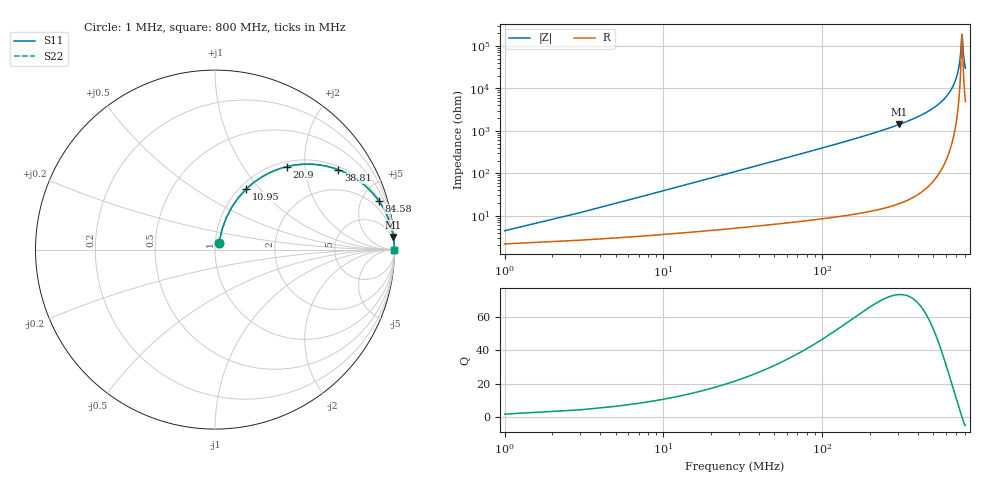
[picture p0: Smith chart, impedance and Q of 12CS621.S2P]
! Coilcraft 1206CS-621 Chip Inductor
! 29 July 2002
# MHZ S MA R 50
!Freq  MagS11  AngS11  MagS21  AngS21  MagS12  AngS12  MagS22  AngS22
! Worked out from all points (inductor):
!   403 points, 1 MHz to 800 MHz, reference 50 ohm
!   read as one part in series: L = 615 nH near 4.98 MHz
!   highest Q = 73.3 at 307.5 MHz (marker M1), where L = 735 nH
!   self-resonance near 761.2 MHz
!   S11 on the Smith chart (normalised r, x): 1 MHz: 1.04, +0.08; 10.95 MHz: 1.07, +0.85; 20.9 MHz: 1.09, +1.62; 38.81 MHz: 1.11, +3.01; 84.58 MHz: 1.16, +6.62; 800 MHz: open
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1  0.04335 58.5  0.9781 -2.2  0.9781 -2.2  0.04335 58.5
6.97  0.2542 68.5  0.937 -14.6  0.937 -14.6  0.2542 68.5
10.95  0.3792 62.8  0.8927 -22.2  0.8927 -22.2  0.3792 62.8
20.9  0.6125 49.1  0.7566 -37.7  0.7566 -37.7  0.6125 49.1
38.81  0.8187 32.9  0.5441 -54.9  0.5441 -54.9  0.8187 32.9
58.71  0.9063 23.4  0.3969 -64.9  0.3969 -64.9  0.9063 23.4
84.58  0.9511 16.7  0.2873 -72.0  0.2873 -72.0  0.9511 16.7
134.33  0.9798 10.5  0.1829 -78.4  0.1829 -78.4  0.9798 10.5
267.66  0.9953 4.8  0.08434 -84.4  0.08434 -84.4  0.9953 4.8
307.46  0.9966 4.0  0.07021 -85.2  0.07021 -85.2  0.9966 4.0
400.99  0.9982 2.7  0.04657 -86.5  0.04657 -86.5  0.9982 2.7
534.32  0.9992 1.4  0.02458 -87.4  0.02458 -87.4  0.9992 1.4
611.93  0.9994 0.9  0.01499 -87.2  0.01499 -87.2  0.9994 0.9
667.65  0.9994 0.5  0.008987 -86.2  0.008987 -86.2  0.9994 0.5
701.48  0.9995 0.3  0.00562 -84.4  0.00562 -84.4  0.9995 0.3
727.35  0.9995 0.2  0.003175 -80.3  0.003175 -80.3  0.9995 0.2
743.27  0.9995 0.1  0.001743 -72.2  0.001743 -72.2  0.9995 0.1
757.2  0.9995 0.0  0.0006675 -36.7  0.0006675 -36.7  0.9995 0.0
761.18  0.9995 0.0  0.0005383 -4.6  0.0005383 -4.6  0.9995 0.0
765.16  0.9995 -0.0  0.0006215 30.0  0.0006215 30.0  0.9995 -0.0
783.07  0.9995 -0.1  0.00196 73.7  0.00196 73.7  0.9995 -0.1
800  0.9994 -0.2  0.003382 80.4  0.003382 80.4  0.9994 -0.2
